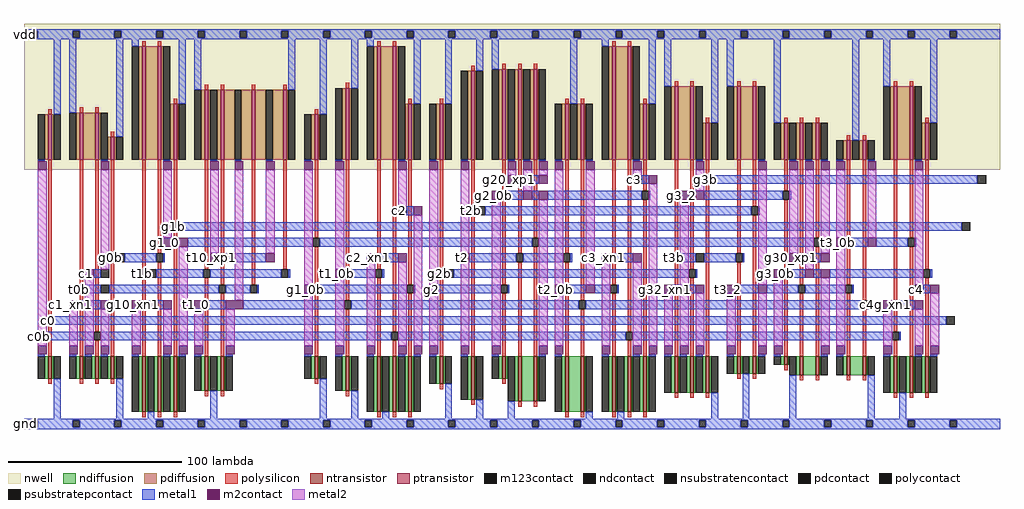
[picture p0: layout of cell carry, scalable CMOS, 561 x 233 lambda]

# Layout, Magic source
magic
tech scmos
<< nwell >>
rect 0 149 561 233
<< ntransistor >>
rect 14 29 16 42
rect 32 29 34 42
rect 41 29 43 42
rect 50 29 52 42
rect 68 10 70 42
rect 77 10 79 42
rect 86 10 88 42
rect 104 22 106 42
rect 113 22 115 42
rect 167 29 169 42
rect 185 22 187 42
rect 203 10 205 42
rect 212 10 214 42
rect 221 10 223 42
rect 239 26 241 42
rect 257 17 259 42
rect 275 29 277 42
rect 284 16 286 42
rect 293 16 295 42
rect 311 10 313 42
rect 320 10 322 42
rect 338 10 340 42
rect 347 10 349 42
rect 356 10 358 42
rect 374 21 376 42
rect 383 21 385 42
rect 392 21 394 42
rect 410 32 412 42
rect 419 32 421 42
rect 437 37 439 42
rect 446 31 448 42
rect 455 31 457 42
rect 473 31 475 42
rect 482 31 484 42
rect 500 21 502 42
rect 509 21 511 42
rect 518 21 520 42
<< ptransistor >>
rect 14 155 16 181
rect 32 155 34 182
rect 41 155 43 182
rect 50 155 52 168
rect 68 155 70 220
rect 77 155 79 220
rect 86 155 88 187
rect 104 155 106 195
rect 113 155 115 195
rect 131 155 133 195
rect 149 155 151 195
rect 167 155 169 181
rect 185 155 187 196
rect 203 155 205 220
rect 212 155 214 220
rect 221 155 223 187
rect 239 155 241 187
rect 257 155 259 206
rect 275 155 277 207
rect 284 155 286 207
rect 293 155 295 207
rect 311 155 313 187
rect 320 155 322 187
rect 338 155 340 220
rect 347 155 349 220
rect 356 155 358 187
rect 374 155 376 197
rect 383 155 385 197
rect 392 155 394 176
rect 410 155 412 197
rect 419 155 421 197
rect 437 155 439 176
rect 446 155 448 176
rect 455 155 457 176
rect 473 155 475 166
rect 482 155 484 166
rect 500 155 502 197
rect 509 155 511 197
rect 518 155 520 176
<< ndiffusion >>
rect 12 29 14 42
rect 16 29 17 42
rect 30 29 32 42
rect 34 29 35 42
rect 39 29 41 42
rect 43 29 44 42
rect 48 29 50 42
rect 52 29 53 42
rect 66 10 68 42
rect 70 10 71 42
rect 75 10 77 42
rect 79 10 80 42
rect 84 10 86 42
rect 88 10 89 42
rect 102 22 104 42
rect 106 22 107 42
rect 111 22 113 42
rect 115 22 116 42
rect 165 29 167 42
rect 169 29 170 42
rect 183 22 185 42
rect 187 22 188 42
rect 201 10 203 42
rect 205 10 206 42
rect 210 10 212 42
rect 214 10 215 42
rect 219 10 221 42
rect 223 10 224 42
rect 237 26 239 42
rect 241 26 242 42
rect 255 17 257 42
rect 259 17 260 42
rect 273 29 275 42
rect 277 29 278 42
rect 282 16 284 42
rect 286 16 293 42
rect 295 16 296 42
rect 309 10 311 42
rect 313 10 320 42
rect 322 10 323 42
rect 336 10 338 42
rect 340 10 341 42
rect 345 10 347 42
rect 349 10 350 42
rect 354 10 356 42
rect 358 10 359 42
rect 372 21 374 42
rect 376 21 377 42
rect 381 21 383 42
rect 385 21 386 42
rect 390 21 392 42
rect 394 21 395 42
rect 408 32 410 42
rect 412 32 413 42
rect 417 32 419 42
rect 421 32 422 42
rect 435 37 437 42
rect 439 37 440 42
rect 444 31 446 42
rect 448 31 455 42
rect 457 31 458 42
rect 471 31 473 42
rect 475 31 482 42
rect 484 31 485 42
rect 498 21 500 42
rect 502 21 503 42
rect 507 21 509 42
rect 511 21 512 42
rect 516 21 518 42
rect 520 21 521 42
<< pdiffusion >>
rect 12 155 14 181
rect 16 155 17 181
rect 30 155 32 182
rect 34 155 41 182
rect 43 155 44 182
rect 48 155 50 168
rect 52 155 53 168
rect 66 155 68 220
rect 70 155 77 220
rect 79 155 80 220
rect 84 155 86 187
rect 88 155 89 187
rect 102 155 104 195
rect 106 155 107 195
rect 111 155 113 195
rect 115 155 121 195
rect 125 155 131 195
rect 133 155 139 195
rect 143 155 149 195
rect 151 155 152 195
rect 165 155 167 181
rect 169 155 170 181
rect 183 155 185 196
rect 187 155 188 196
rect 201 155 203 220
rect 205 155 212 220
rect 214 155 215 220
rect 219 155 221 187
rect 223 155 224 187
rect 237 155 239 187
rect 241 155 242 187
rect 255 155 257 206
rect 259 155 260 206
rect 273 155 275 207
rect 277 155 278 207
rect 282 155 284 207
rect 286 155 287 207
rect 291 155 293 207
rect 295 155 296 207
rect 309 155 311 187
rect 313 155 314 187
rect 318 155 320 187
rect 322 155 323 187
rect 336 155 338 220
rect 340 155 347 220
rect 349 155 350 220
rect 354 155 356 187
rect 358 155 359 187
rect 372 155 374 197
rect 376 155 383 197
rect 385 155 386 197
rect 390 155 392 176
rect 394 155 395 176
rect 408 155 410 197
rect 412 155 419 197
rect 421 155 422 197
rect 435 155 437 176
rect 439 155 440 176
rect 444 155 446 176
rect 448 155 449 176
rect 453 155 455 176
rect 457 155 458 176
rect 471 155 473 166
rect 475 155 476 166
rect 480 155 482 166
rect 484 155 485 166
rect 498 155 500 197
rect 502 155 509 197
rect 511 155 512 197
rect 516 155 518 176
rect 520 155 521 176
<< ndcontact >>
rect 8 29 12 42
rect 17 29 21 42
rect 26 29 30 42
rect 35 29 39 42
rect 44 29 48 42
rect 53 29 57 42
rect 62 10 66 42
rect 71 10 75 42
rect 80 10 84 42
rect 89 10 93 42
rect 98 22 102 42
rect 107 22 111 42
rect 116 22 120 42
rect 161 29 165 42
rect 170 29 174 42
rect 179 22 183 42
rect 188 22 192 42
rect 197 10 201 42
rect 206 10 210 42
rect 215 10 219 42
rect 224 10 228 42
rect 233 26 237 42
rect 242 26 246 42
rect 251 17 255 42
rect 260 17 264 42
rect 269 29 273 42
rect 278 16 282 42
rect 296 16 300 42
rect 305 10 309 42
rect 323 10 327 42
rect 332 10 336 42
rect 341 10 345 42
rect 350 10 354 42
rect 359 10 363 42
rect 368 21 372 42
rect 377 21 381 42
rect 386 21 390 42
rect 395 21 399 42
rect 404 32 408 42
rect 413 32 417 42
rect 422 32 426 42
rect 431 37 435 42
rect 440 31 444 42
rect 458 31 462 42
rect 467 31 471 42
rect 485 31 489 42
rect 494 21 498 42
rect 503 21 507 42
rect 512 21 516 42
rect 521 21 525 42
<< pdcontact >>
rect 8 155 12 181
rect 17 155 21 181
rect 26 155 30 182
rect 44 155 48 182
rect 53 155 57 168
rect 62 155 66 220
rect 80 155 84 220
rect 89 155 93 187
rect 98 155 102 195
rect 107 155 111 195
rect 121 155 125 195
rect 139 155 143 195
rect 152 155 156 195
rect 161 155 165 181
rect 170 155 174 181
rect 179 155 183 196
rect 188 155 192 196
rect 197 155 201 220
rect 215 155 219 220
rect 224 155 228 187
rect 233 155 237 187
rect 242 155 246 187
rect 251 155 255 206
rect 260 155 264 206
rect 269 155 273 207
rect 278 155 282 207
rect 287 155 291 207
rect 296 155 300 207
rect 305 155 309 187
rect 314 155 318 187
rect 323 155 327 187
rect 332 155 336 220
rect 350 155 354 220
rect 359 155 363 187
rect 368 155 372 197
rect 386 155 390 197
rect 395 155 399 176
rect 404 155 408 197
rect 422 155 426 197
rect 431 155 435 176
rect 440 155 444 176
rect 449 155 453 176
rect 458 155 462 176
rect 467 155 471 166
rect 476 155 480 166
rect 485 155 489 166
rect 494 155 498 197
rect 512 155 516 197
rect 521 155 525 176
<< psubstratepcontact >>
rect 4 1 8 5
rect 28 1 32 5
rect 52 1 56 5
rect 76 1 80 5
rect 100 1 104 5
rect 124 1 128 5
rect 148 1 152 5
rect 172 1 176 5
rect 196 1 200 5
rect 220 1 224 5
rect 244 1 248 5
rect 268 1 272 5
rect 292 1 296 5
rect 316 1 320 5
rect 340 1 344 5
rect 364 1 368 5
rect 388 1 392 5
rect 412 1 416 5
rect 436 1 440 5
rect 460 1 464 5
rect 484 1 488 5
rect 508 1 512 5
rect 532 1 536 5
<< nsubstratencontact >>
rect 4 225 8 229
rect 28 225 32 229
rect 52 225 56 229
rect 76 225 80 229
rect 100 225 104 229
rect 124 225 128 229
rect 148 225 152 229
rect 172 225 176 229
rect 196 225 200 229
rect 220 225 224 229
rect 244 225 248 229
rect 268 225 272 229
rect 292 225 296 229
rect 316 225 320 229
rect 340 225 344 229
rect 364 225 368 229
rect 388 225 392 229
rect 412 225 416 229
rect 436 225 440 229
rect 460 225 464 229
rect 484 225 488 229
rect 508 225 512 229
rect 532 225 536 229
<< polysilicon >>
rect 68 220 70 223
rect 77 220 79 223
rect 203 220 205 223
rect 212 220 214 223
rect 338 220 340 223
rect 347 220 349 223
rect 14 181 16 184
rect 32 182 34 185
rect 41 182 43 185
rect 50 168 52 171
rect 104 195 106 198
rect 113 195 115 198
rect 131 195 133 198
rect 149 195 151 198
rect 185 196 187 199
rect 86 187 88 190
rect 167 181 169 184
rect 257 206 259 209
rect 275 207 277 210
rect 284 207 286 210
rect 293 207 295 210
rect 221 187 223 190
rect 239 187 241 190
rect 311 187 313 190
rect 320 187 322 190
rect 374 197 376 200
rect 383 197 385 200
rect 410 197 412 200
rect 419 197 421 200
rect 500 197 502 200
rect 509 197 511 200
rect 356 187 358 190
rect 392 176 394 179
rect 437 176 439 179
rect 446 176 448 179
rect 455 176 457 179
rect 473 166 475 169
rect 482 166 484 169
rect 518 176 520 179
rect 14 65 16 155
rect 32 83 34 155
rect 14 42 16 60
rect 32 42 34 78
rect 41 56 43 155
rect 50 101 52 155
rect 41 42 43 51
rect 50 42 52 96
rect 68 92 70 155
rect 77 101 79 155
rect 86 119 88 155
rect 68 42 70 87
rect 77 42 79 96
rect 86 42 88 114
rect 104 92 106 155
rect 104 42 106 87
rect 113 83 115 155
rect 131 83 133 155
rect 149 92 151 155
rect 167 110 169 155
rect 113 42 115 78
rect 167 42 169 105
rect 185 74 187 155
rect 203 92 205 155
rect 185 42 187 69
rect 203 42 205 87
rect 212 56 214 155
rect 221 83 223 155
rect 239 92 241 155
rect 257 128 259 155
rect 212 42 214 51
rect 221 42 223 78
rect 239 42 241 87
rect 257 42 259 123
rect 275 83 277 155
rect 284 101 286 155
rect 293 110 295 155
rect 275 42 277 78
rect 284 42 286 96
rect 293 42 295 105
rect 311 101 313 155
rect 311 42 313 96
rect 320 74 322 155
rect 338 83 340 155
rect 320 42 322 69
rect 338 42 340 78
rect 347 56 349 155
rect 356 137 358 155
rect 347 42 349 51
rect 356 42 358 132
rect 374 101 376 155
rect 374 42 376 96
rect 383 92 385 155
rect 392 146 394 155
rect 383 42 385 87
rect 392 42 394 141
rect 410 101 412 155
rect 419 128 421 155
rect 437 137 439 155
rect 410 42 412 96
rect 419 42 421 123
rect 437 42 439 132
rect 446 83 448 155
rect 455 110 457 155
rect 446 42 448 78
rect 455 42 457 105
rect 473 83 475 155
rect 473 42 475 78
rect 482 74 484 155
rect 482 42 484 69
rect 500 56 502 155
rect 509 110 511 155
rect 500 42 502 51
rect 509 42 511 105
rect 518 92 520 155
rect 518 42 520 87
rect 14 26 16 29
rect 32 26 34 29
rect 41 26 43 29
rect 50 26 52 29
rect 167 26 169 29
rect 104 19 106 22
rect 113 19 115 22
rect 185 19 187 22
rect 239 23 241 26
rect 275 26 277 29
rect 257 14 259 17
rect 284 13 286 16
rect 293 13 295 16
rect 437 34 439 37
rect 410 29 412 32
rect 419 29 421 32
rect 446 28 448 31
rect 455 28 457 31
rect 473 28 475 31
rect 482 28 484 31
rect 374 18 376 21
rect 383 18 385 21
rect 392 18 394 21
rect 500 18 502 21
rect 509 18 511 21
rect 518 18 520 21
rect 68 7 70 10
rect 77 7 79 10
rect 86 7 88 10
rect 203 7 205 10
rect 212 7 214 10
rect 221 7 223 10
rect 311 7 313 10
rect 320 7 322 10
rect 338 7 340 10
rect 347 7 349 10
rect 356 7 358 10
<< polycontact >>
rect 31 78 35 83
rect 13 60 17 65
rect 49 96 53 101
rect 40 51 44 56
rect 85 114 89 119
rect 76 96 80 101
rect 67 87 71 92
rect 103 87 107 92
rect 166 105 170 110
rect 148 87 152 92
rect 112 78 116 83
rect 130 78 134 83
rect 202 87 206 92
rect 184 69 188 74
rect 256 123 260 128
rect 238 87 242 92
rect 220 78 224 83
rect 211 51 215 56
rect 292 105 296 110
rect 283 96 287 101
rect 274 78 278 83
rect 310 96 314 101
rect 337 78 341 83
rect 319 69 323 74
rect 355 132 359 137
rect 346 51 350 56
rect 373 96 377 101
rect 391 141 395 146
rect 382 87 386 92
rect 436 132 440 137
rect 418 123 422 128
rect 409 96 413 101
rect 454 105 458 110
rect 445 78 449 83
rect 472 78 476 83
rect 481 69 485 74
rect 508 105 512 110
rect 499 51 503 56
rect 517 87 521 92
<< metal1 >>
rect 0 229 561 230
rect 0 225 4 229
rect 8 225 28 229
rect 32 225 52 229
rect 56 225 76 229
rect 80 225 100 229
rect 104 225 124 229
rect 128 225 148 229
rect 152 225 172 229
rect 176 225 196 229
rect 200 225 220 229
rect 224 225 244 229
rect 248 225 268 229
rect 272 225 292 229
rect 296 225 316 229
rect 320 225 340 229
rect 344 225 364 229
rect 368 225 388 229
rect 392 225 412 229
rect 416 225 436 229
rect 440 225 460 229
rect 464 225 484 229
rect 488 225 508 229
rect 512 225 532 229
rect 536 225 561 229
rect 0 224 561 225
rect 17 181 21 224
rect 26 182 30 224
rect 53 168 57 224
rect 62 220 66 224
rect 89 187 93 224
rect 98 195 102 224
rect 152 195 156 224
rect 8 154 12 155
rect 44 154 48 155
rect 80 154 84 155
rect 107 154 111 155
rect 121 154 125 155
rect 170 181 174 224
rect 188 196 192 224
rect 197 220 201 224
rect 224 187 228 224
rect 242 187 246 224
rect 260 206 264 224
rect 269 207 273 224
rect 139 154 143 155
rect 161 154 165 155
rect 179 154 183 155
rect 215 154 219 155
rect 233 154 237 155
rect 251 154 255 155
rect 278 154 282 155
rect 287 154 291 155
rect 314 187 318 224
rect 332 220 336 224
rect 296 154 300 155
rect 359 187 363 224
rect 368 197 372 224
rect 395 176 399 224
rect 404 197 408 224
rect 431 176 435 224
rect 305 154 309 155
rect 323 154 327 155
rect 350 154 354 155
rect 386 154 390 155
rect 422 154 426 155
rect 440 154 444 155
rect 449 154 453 155
rect 476 166 480 224
rect 494 197 498 224
rect 458 154 462 155
rect 521 176 525 224
rect 467 154 471 155
rect 485 154 489 155
rect 512 154 516 155
rect 283 141 296 146
rect 355 141 359 146
rect 395 141 548 146
rect 274 132 287 137
rect 292 132 296 137
rect 301 132 355 137
rect 359 132 360 137
rect 382 132 386 137
rect 391 132 436 137
rect 440 132 441 137
rect 220 123 224 128
rect 265 123 418 128
rect 422 123 423 128
rect 89 114 539 119
rect 85 105 89 110
rect 94 105 166 110
rect 170 105 292 110
rect 296 105 454 110
rect 458 105 459 110
rect 472 105 485 110
rect 490 105 508 110
rect 512 105 513 110
rect 58 96 76 101
rect 80 96 81 101
rect 112 96 139 101
rect 202 96 215 101
rect 256 96 283 101
rect 287 96 310 101
rect 314 96 315 101
rect 337 96 350 101
rect 377 96 386 101
rect 391 96 409 101
rect 413 96 414 101
rect 445 96 458 101
rect 40 87 44 92
rect 76 87 103 92
rect 107 87 148 92
rect 152 87 153 92
rect 184 87 202 92
rect 206 87 207 92
rect 247 87 382 92
rect 386 87 387 92
rect 436 87 449 92
rect 454 87 458 92
rect 463 87 517 92
rect 521 87 522 92
rect 35 78 44 83
rect 49 78 112 83
rect 116 78 130 83
rect 134 78 135 83
rect 166 78 220 83
rect 224 78 225 83
rect 238 78 274 83
rect 278 78 279 83
rect 310 78 323 83
rect 328 78 337 83
rect 341 78 342 83
rect 373 78 386 83
rect 409 78 422 83
rect 427 78 445 83
rect 449 78 472 83
rect 476 78 477 83
rect 517 78 521 83
rect 31 69 44 74
rect 67 69 80 74
rect 103 69 116 74
rect 126 69 184 74
rect 188 69 319 74
rect 323 69 481 74
rect 485 69 486 74
rect 499 69 512 74
rect 17 60 530 65
rect 13 51 40 56
rect 44 51 211 56
rect 215 51 346 56
rect 350 51 499 56
rect 503 51 504 56
rect 8 42 12 43
rect 26 42 30 43
rect 35 42 39 43
rect 44 42 48 43
rect 62 42 66 43
rect 80 42 84 43
rect 17 6 21 29
rect 53 6 57 29
rect 89 42 93 43
rect 98 42 102 43
rect 116 42 120 43
rect 161 42 165 43
rect 179 42 183 43
rect 197 42 201 43
rect 215 42 219 43
rect 71 6 75 10
rect 107 6 111 22
rect 170 6 174 29
rect 188 6 192 22
rect 224 42 228 43
rect 233 42 237 43
rect 251 42 255 43
rect 269 42 273 43
rect 296 42 300 43
rect 206 6 210 10
rect 242 6 246 26
rect 260 6 264 17
rect 305 42 309 43
rect 332 42 336 43
rect 350 42 354 43
rect 278 6 282 16
rect 359 42 363 43
rect 368 42 372 43
rect 377 42 381 43
rect 386 42 390 43
rect 404 42 408 43
rect 422 42 426 43
rect 431 42 435 43
rect 458 42 462 43
rect 323 6 327 10
rect 341 6 345 10
rect 395 6 399 21
rect 413 6 417 32
rect 467 42 471 43
rect 494 42 498 43
rect 512 42 516 43
rect 440 6 444 31
rect 485 6 489 31
rect 521 42 525 43
rect 503 6 507 21
rect 0 5 561 6
rect 0 1 4 5
rect 8 1 28 5
rect 32 1 52 5
rect 56 1 76 5
rect 80 1 100 5
rect 104 1 124 5
rect 128 1 148 5
rect 152 1 172 5
rect 176 1 196 5
rect 200 1 220 5
rect 224 1 244 5
rect 248 1 268 5
rect 272 1 292 5
rect 296 1 316 5
rect 320 1 340 5
rect 344 1 364 5
rect 368 1 388 5
rect 392 1 412 5
rect 416 1 436 5
rect 440 1 460 5
rect 464 1 484 5
rect 488 1 508 5
rect 512 1 532 5
rect 536 1 561 5
rect 0 0 561 1
<< m2contact >>
rect 8 149 13 154
rect 44 149 49 154
rect 80 149 85 154
rect 107 149 112 154
rect 121 149 126 154
rect 139 149 144 154
rect 161 149 166 154
rect 179 149 184 154
rect 215 149 220 154
rect 233 149 238 154
rect 251 149 256 154
rect 278 149 283 154
rect 287 149 292 154
rect 296 149 301 154
rect 305 149 310 154
rect 323 149 328 154
rect 350 149 355 154
rect 386 149 391 154
rect 422 149 427 154
rect 440 149 445 154
rect 449 149 454 154
rect 458 149 463 154
rect 467 149 472 154
rect 485 149 490 154
rect 512 149 517 154
rect 278 141 283 146
rect 296 141 301 146
rect 359 141 364 146
rect 269 132 274 137
rect 287 132 292 137
rect 296 132 301 137
rect 377 132 382 137
rect 386 132 391 137
rect 224 123 229 128
rect 80 105 85 110
rect 89 105 94 110
rect 467 105 472 110
rect 485 105 490 110
rect 107 96 112 101
rect 139 96 144 101
rect 197 96 202 101
rect 215 96 220 101
rect 251 96 256 101
rect 332 96 337 101
rect 350 96 355 101
rect 440 96 445 101
rect 458 96 463 101
rect 35 87 40 92
rect 179 87 184 92
rect 431 87 436 92
rect 449 87 454 92
rect 458 87 463 92
rect 161 78 166 83
rect 233 78 238 83
rect 305 78 310 83
rect 323 78 328 83
rect 368 78 373 83
rect 386 78 391 83
rect 404 78 409 83
rect 422 78 427 83
rect 521 78 526 83
rect 26 69 31 74
rect 44 69 49 74
rect 62 69 67 74
rect 80 69 85 74
rect 98 69 103 74
rect 116 69 126 74
rect 494 69 499 74
rect 512 69 517 74
rect 8 51 13 56
rect 8 43 13 48
rect 26 43 31 48
rect 35 43 40 48
rect 44 43 49 48
rect 62 43 67 48
rect 80 43 85 48
rect 89 43 94 48
rect 98 43 103 48
rect 116 43 121 48
rect 161 43 166 48
rect 179 43 184 48
rect 197 43 202 48
rect 215 43 220 48
rect 224 43 229 48
rect 233 43 238 48
rect 251 43 256 48
rect 269 43 274 48
rect 296 43 301 48
rect 305 43 310 48
rect 332 43 337 48
rect 350 43 355 48
rect 359 43 364 48
rect 368 43 373 48
rect 377 43 382 48
rect 386 43 391 48
rect 404 43 409 48
rect 422 43 427 48
rect 431 43 436 48
rect 458 43 463 48
rect 467 43 472 48
rect 494 43 499 48
rect 512 43 517 48
rect 521 43 526 48
<< metal2 >>
rect 8 56 13 149
rect 44 92 49 149
rect 80 110 85 149
rect 8 48 13 51
rect 26 48 31 69
rect 35 48 40 87
rect 44 48 49 69
rect 62 48 67 69
rect 80 48 85 69
rect 89 48 94 105
rect 107 101 112 149
rect 121 74 126 149
rect 139 101 144 149
rect 98 48 103 69
rect 161 83 166 149
rect 116 48 121 69
rect 161 48 166 78
rect 179 92 184 149
rect 215 128 220 149
rect 179 48 184 87
rect 197 48 202 96
rect 215 48 220 96
rect 224 48 229 123
rect 233 83 238 149
rect 251 101 256 149
rect 278 146 283 149
rect 287 137 292 149
rect 296 146 301 149
rect 233 48 238 78
rect 251 48 256 96
rect 269 48 274 132
rect 296 48 301 132
rect 305 83 310 149
rect 323 83 328 149
rect 350 146 355 149
rect 305 48 310 78
rect 332 48 337 96
rect 350 48 355 96
rect 359 48 364 141
rect 386 137 391 149
rect 368 48 373 78
rect 377 48 382 132
rect 422 83 427 149
rect 440 101 445 149
rect 449 92 454 149
rect 458 101 463 149
rect 467 110 472 149
rect 485 110 490 149
rect 386 48 391 78
rect 404 48 409 78
rect 422 48 427 78
rect 431 48 436 87
rect 458 48 463 87
rect 467 48 472 105
rect 512 83 517 149
rect 494 48 499 69
rect 512 48 517 69
rect 521 48 526 78
<< m123contact >>
rect 53 96 58 101
rect 44 87 49 92
rect 71 87 76 92
rect 44 78 49 83
rect 215 123 220 128
rect 260 123 265 128
rect 242 87 247 92
rect 350 141 355 146
rect 386 96 391 101
rect 548 141 553 146
rect 539 114 544 119
rect 512 78 517 83
rect 530 60 535 65
<< labels >>
rlabel metal1 13 60 15 65 0 c0
port 1 nsew
rlabel m2contact 35 87 37 92 0 c1
port 2 nsew
rlabel metal1 215 123 217 128 0 c2
port 3 nsew
rlabel metal1 350 141 352 146 0 c3
port 4 nsew
rlabel metal1 512 78 514 83 0 c4
port 5 nsew
rlabel metal1 49 96 51 101 0 g0b
port 6 nsew
rlabel metal1 85 114 87 119 0 g1b
port 7 nsew
rlabel metal1 238 87 240 92 0 g2b
port 8 nsew
rlabel metal1 391 141 393 146 0 g3b
port 9 nsew
rlabel metal1 31 78 33 83 0 t0b
port 10 nsew
rlabel metal1 67 87 69 92 0 t1b
port 11 nsew
rlabel metal1 256 123 258 128 0 t2b
port 12 nsew
rlabel metal1 373 96 375 101 0 t3b
port 13 nsew
rlabel m2contact 8 51 10 56 0 c0b
rlabel m2contact 26 69 28 74 0 c1_xn1
rlabel m2contact 197 96 199 101 0 c2_xn1
rlabel m2contact 332 96 334 101 0 c3_xn1
rlabel m2contact 494 69 496 74 0 c4g_xn1
rlabel m2contact 62 69 64 74 0 g10_xn1
rlabel m2contact 80 105 82 110 0 g1_0
rlabel m2contact 161 78 163 83 0 g1_0b
rlabel m2contact 233 78 235 83 0 g2
rlabel m2contact 278 141 280 146 0 g20_xp1
rlabel m2contact 269 132 271 137 0 g2_0b
rlabel m2contact 440 96 442 101 0 g30_xp1
rlabel m2contact 368 78 370 83 0 g32_xn1
rlabel m2contact 431 87 433 92 0 g3_0b
rlabel m2contact 377 132 379 137 0 g3_2
rlabel m2contact 107 96 109 101 0 t10_xp1
rlabel m2contact 98 69 100 74 0 t1_0
rlabel m2contact 179 87 181 92 0 t1_0b
rlabel m2contact 251 96 253 101 0 t2
rlabel m2contact 305 78 307 83 0 t2_0b
rlabel m2contact 467 105 469 110 0 t3_0b
rlabel m2contact 404 78 406 83 0 t3_2
rlabel metal1 0 224 2 230 0 vdd
port 14 nsew
rlabel metal1 0 0 2 6 0 gnd
port 15 nsew
<< end >>
